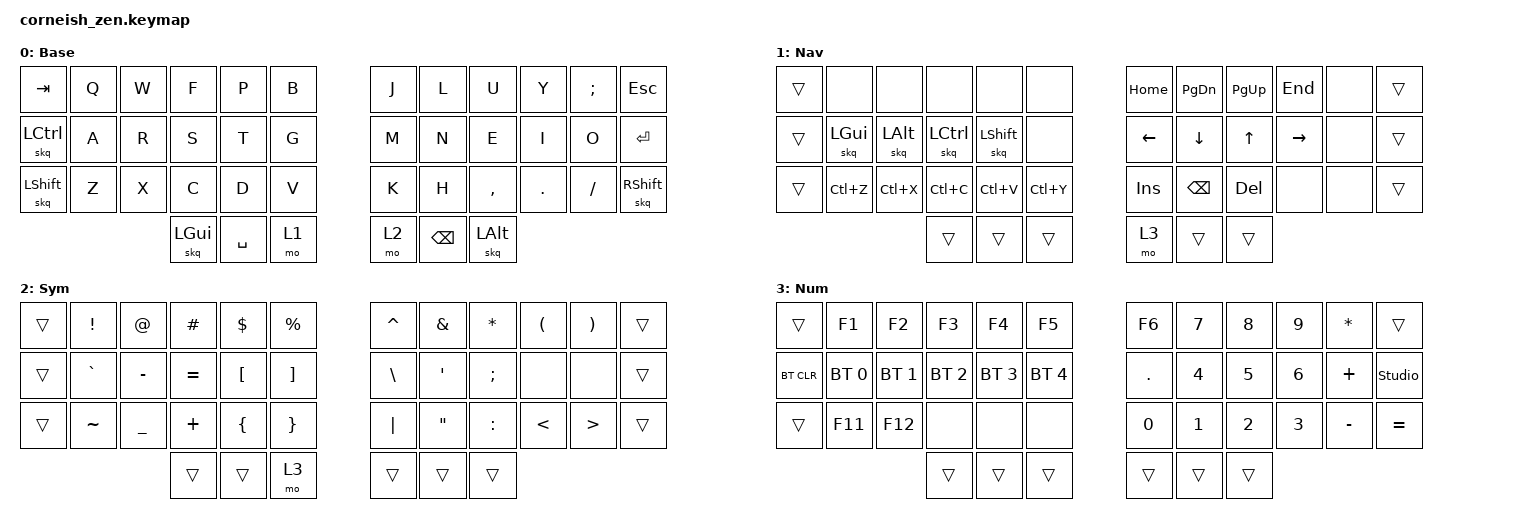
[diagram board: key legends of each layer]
/*
 * Corne-ish Zen 3x6 Layout - Colemak-DH with Smart One-Shot Modifiers
 *
 * Features:
 * - Colemak-DH base layout for ergonomic typing
 * - One-shot modifiers on outer columns (tap=sticky, hold=regular)
 * - 4 layers: Base, Nav, Sym, Num
 * - No home row mod timing issues
 */

#include <behaviors.dtsi>
#include <dt-bindings/zmk/keys.h>
#include <dt-bindings/zmk/bt.h>

/ {
    chosen {
        zmk,physical-layout = &foostan_corne_6col_layout;
    };
};

// Combo timeout: 50ms = fast, 75ms = balanced, 100ms = forgiving
#define COMBO_TERM 50

/ {
    behaviors {
        // Smart one-shot sticky key with quick-release
        // Tap: activates sticky key for next keypress
        // Hold: functions as regular modifier
        // Double-tap: locks modifier (tap again to unlock)
        skq: sticky_key_quick_release {
            compatible = "zmk,behavior-sticky-key";
            label = "STICKY_KEY_QUICK_RELEASE";
            #binding-cells = <1>;
            release-after-ms = <2000>;
            quick-release;
            bindings = <&kp>;
        };
    };

    // ========================================================================
    // COMBOS - Horizontal combos for quick access without layer switching
    // ========================================================================
    // Key positions:
    //    0   1   2   3   4   5       6   7   8   9  10  11
    //   12  13  14  15  16  17      18  19  20  21  22  23
    //   24  25  26  27  28  29      30  31  32  33  34  35
    //               36  37  38      39  40  41
    // ========================================================================
    combos {
        compatible = "zmk,combos";

        // ====================================================================
        // NUMBER COMBOS - Top row adjacent keys (1-5 left, 6-9,0 right)
        // ====================================================================
        combo_1 {
            timeout-ms = <COMBO_TERM>;
            key-positions = <0 1>;      // TAB + Q
            bindings = <&kp N1>;
            layers = <0>;
        };
        combo_2 {
            timeout-ms = <COMBO_TERM>;
            key-positions = <1 2>;      // Q + W
            bindings = <&kp N2>;
            layers = <0>;
        };
        combo_3 {
            timeout-ms = <COMBO_TERM>;
            key-positions = <2 3>;      // W + F
            bindings = <&kp N3>;
            layers = <0>;
        };
        combo_4 {
            timeout-ms = <COMBO_TERM>;
            key-positions = <3 4>;      // F + P
            bindings = <&kp N4>;
            layers = <0>;
        };
        combo_5 {
            timeout-ms = <COMBO_TERM>;
            key-positions = <4 5>;      // P + B
            bindings = <&kp N5>;
            layers = <0>;
        };
        combo_6 {
            timeout-ms = <COMBO_TERM>;
            key-positions = <6 7>;      // J + L
            bindings = <&kp N6>;
            layers = <0>;
        };
        combo_7 {
            timeout-ms = <COMBO_TERM>;
            key-positions = <7 8>;      // L + U
            bindings = <&kp N7>;
            layers = <0>;
        };
        combo_8 {
            timeout-ms = <COMBO_TERM>;
            key-positions = <8 9>;      // U + Y
            bindings = <&kp N8>;
            layers = <0>;
        };
        combo_9 {
            timeout-ms = <COMBO_TERM>;
            key-positions = <9 10>;     // Y + ;
            bindings = <&kp N9>;
            layers = <0>;
        };
        combo_0 {
            timeout-ms = <COMBO_TERM>;
            key-positions = <10 11>;    // ; + ESC
            bindings = <&kp N0>;
            layers = <0>;
        };

        // ====================================================================
        // BRACKET COMBOS - Home row for programming
        // ====================================================================
        combo_lpar {
            timeout-ms = <COMBO_TERM>;
            key-positions = <15 16>;    // S + T
            bindings = <&kp LPAR>;
            layers = <0>;
        };
        combo_rpar {
            timeout-ms = <COMBO_TERM>;
            key-positions = <16 17>;    // T + G
            bindings = <&kp RPAR>;
            layers = <0>;
        };
        combo_lbkt {
            timeout-ms = <COMBO_TERM>;
            key-positions = <19 20>;    // N + E
            bindings = <&kp LBKT>;
            layers = <0>;
        };
        combo_rbkt {
            timeout-ms = <COMBO_TERM>;
            key-positions = <20 21>;    // E + I
            bindings = <&kp RBKT>;
            layers = <0>;
        };
        combo_lbrc {
            timeout-ms = <COMBO_TERM>;
            key-positions = <21 22>;    // I + O
            bindings = <&kp LBRC>;
            layers = <0>;
        };
        combo_rbrc {
            timeout-ms = <COMBO_TERM>;
            key-positions = <31 32>;    // H + ,
            bindings = <&kp RBRC>;
            layers = <0>;
        };

        // ====================================================================
        // SYMBOL COMBOS - Bottom row for common symbols
        // ====================================================================
        combo_minus {
            timeout-ms = <COMBO_TERM>;
            key-positions = <26 27>;    // X + C
            bindings = <&kp MINUS>;
            layers = <0>;
        };
        combo_under {
            timeout-ms = <COMBO_TERM>;
            key-positions = <27 28>;    // C + D
            bindings = <&kp UNDER>;
            layers = <0>;
        };
        combo_colon {
            timeout-ms = <COMBO_TERM>;
            key-positions = <33 34>;    // . + /
            bindings = <&kp COLON>;
            layers = <0>;
        };
    };

    keymap {
        compatible = "zmk,keymap";

        // ====================================================================
        // BASE LAYER - Colemak-DH with One-Shot Modifiers
        // ====================================================================
        base_layer {
            display-name = "Base";
// ╭──────────┬──────┬──────┬──────┬──────┬──────╮   ╭──────┬──────┬──────┬──────┬──────┬──────────╮
// │   TAB    │  Q   │  W   │  F   │  P   │  B   │   │  J   │  L   │  U   │  Y   │  ;   │   ESC    │
// │  CTRL(OS)│  A   │  R   │  S   │  T   │  G   │   │  M   │  N   │  E   │  I   │  O   │  ENTER   │
// │ SHIFT(OS)│  Z   │  X   │  C   │  D   │  V   │   │  K   │  H   │  ,   │  .   │  /   │ SHIFT(OS)│
// ╰──────────┴──────┴──────┼──────┼──────┼──────┤   ├──────┼──────┼──────┼──────┴──────┴──────────╯
//                          │GUI(OS)│ SPC  │ NAV  │   │ SYM  │ BSPC │ALT(OS)│
//                          ╰──────┴──────┴──────╯   ╰──────┴──────┴──────╯
            bindings = <
&kp TAB     &kp Q &kp W &kp F &kp P &kp B   &kp J &kp L &kp U     &kp Y   &kp SEMI &kp ESC
&skq LCTRL  &kp A &kp R &kp S &kp T &kp G   &kp M &kp N &kp E     &kp I   &kp O    &kp RET
&skq LSHFT  &kp Z &kp X &kp C &kp D &kp V   &kp K &kp H &kp COMMA &kp DOT &kp FSLH &skq RSHFT
                  &skq LGUI &kp SPACE &mo 1 &mo 2 &kp BSPC &skq LALT
            >;
        };

        // ====================================================================
        // NAV LAYER - Navigation + One-Shot Mods for complex combos
        // ====================================================================
        nav_layer {
            display-name = "Nav";
// ╭──────────┬──────┬──────┬──────┬──────┬──────╮   ╭──────┬──────┬──────┬──────┬──────┬──────────╮
// │          │      │      │      │      │      │   │ HOME │ PGDN │ PGUP │ END  │      │          │
// │          │GUI(OS)│ALT(OS)│CTRL(OS)│SHFT(OS)│   │   │  ←   │  ↓   │  ↑   │  →   │      │          │
// │          │ UNDO │ CUT  │ COPY │PASTE │ REDO │   │ INS  │ BSPC │ DEL  │      │      │          │
// ╰──────────┴──────┴──────┼──────┼──────┼──────┤   ├──────┼──────┼──────┼──────┴──────┴──────────╯
//                          │      │      │ ▓▓▓  │   │ NUM  │      │      │
//                          ╰──────┴──────┴──────╯   ╰──────┴──────┴──────╯
            bindings = <
&trans &none     &none     &none      &none      &none      &kp HOME &kp PG_DN &kp PG_UP &kp END   &none &trans
&trans &skq LGUI &skq LALT &skq LCTRL &skq LSHFT &none      &kp LEFT &kp DOWN  &kp UP    &kp RIGHT &none &trans
&trans &kp LC(Z) &kp LC(X) &kp LC(C)  &kp LC(V)  &kp LC(Y)  &kp INS  &kp BSPC  &kp DEL   &none     &none &trans
                           &trans     &trans     &trans     &mo 3    &trans    &trans
            >;
        };

        // ====================================================================
        // SYM LAYER - Symbols & Punctuation
        // ====================================================================
        sym_layer {
            display-name = "Sym";
// ╭──────────┬──────┬──────┬──────┬──────┬──────╮   ╭──────┬──────┬──────┬──────┬──────┬──────────╮
// │          │  !   │  @   │  #   │  $   │  %   │   │  ^   │  &   │  *   │  (   │  )   │          │
// │          │  `   │  -   │  =   │  [   │  ]   │   │  \   │  '   │  ;   │      │      │          │
// │          │  ~   │  _   │  +   │  {   │  }   │   │  |   │  "   │  :   │  <   │  >   │          │
// ╰──────────┴──────┴──────┼──────┼──────┼──────┤   ├──────┼──────┼──────┼──────┴──────┴──────────╯
//                          │      │      │ NUM  │   │ ▓▓▓  │      │      │
//                          ╰──────┴──────┴──────╯   ╰──────┴──────┴──────╯
            bindings = <
&trans &kp EXCL  &kp AT    &kp HASH  &kp DLLR &kp PRCNT   &kp CARET &kp AMPS &kp ASTRK &kp LPAR &kp RPAR &trans
&trans &kp GRAVE &kp MINUS &kp EQUAL &kp LBKT &kp RBKT    &kp BSLH  &kp SQT  &kp SEMI  &none    &none    &trans
&trans &kp TILDE &kp UNDER &kp PLUS  &kp LBRC &kp RBRC    &kp PIPE  &kp DQT  &kp COLON &kp LT   &kp GT   &trans
                           &trans    &trans   &mo 3       &trans    &trans   &trans
            >;
        };

        // ====================================================================
        // NUM LAYER - Numbers, F-Keys, Bluetooth
        // ====================================================================
        num_layer {
            display-name = "Num";
// ╭──────────┬──────┬──────┬──────┬──────┬──────╮   ╭──────┬──────┬──────┬──────┬──────┬──────────╮
// │          │  F1  │  F2  │  F3  │  F4  │  F5  │   │  F6  │  7   │  8   │  9   │  *   │          │
// │  BTCLR   │  BT1 │  BT2 │  BT3 │  BT4 │  BT5 │   │  .   │  4   │  5   │  6   │  +   │  Studio  │
// │          │  F11 │  F12 │      │      │      │   │  0   │  1   │  2   │  3   │  -   │    =     │
// ╰──────────┴──────┴──────┼──────┼──────┼──────┤   ├──────┼──────┼──────┼──────┴──────┴──────────╯
//                          │      │      │ ▓▓▓  │   │ ▓▓▓  │      │      │
//                          ╰──────┴──────┴──────╯   ╰──────┴──────┴──────╯
            bindings = <
&trans     &kp F1       &kp F2       &kp F3       &kp F4       &kp F5         &kp F6  &kp N7 &kp N8 &kp N9 &kp ASTRK &trans
&bt BT_CLR &bt BT_SEL 0 &bt BT_SEL 1 &bt BT_SEL 2 &bt BT_SEL 3 &bt BT_SEL 4   &kp DOT &kp N4 &kp N5 &kp N6 &kp PLUS  &studio_unlock
&trans     &kp F11      &kp F12      &none        &none        &none          &kp N0  &kp N1 &kp N2 &kp N3 &kp MINUS &kp EQUAL
                                     &trans       &trans       &trans         &trans  &trans &trans
            >;
        };
    };
};
